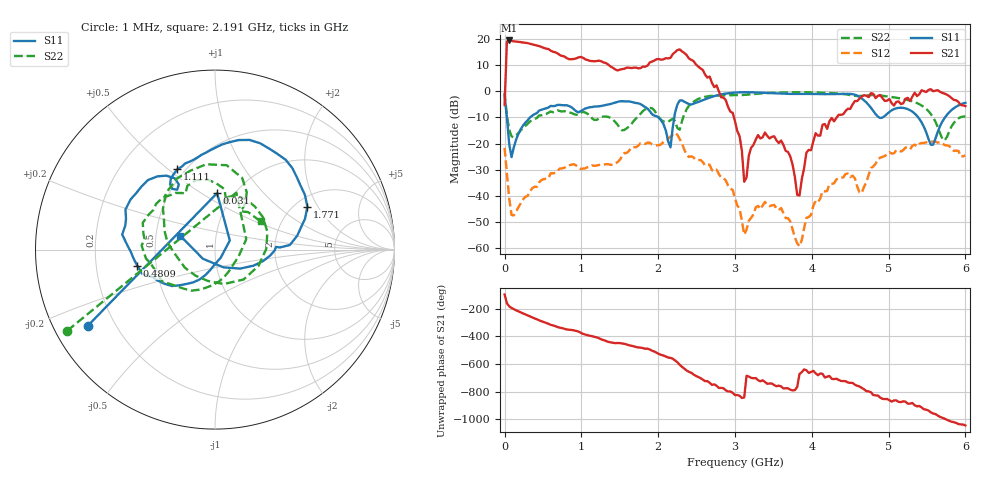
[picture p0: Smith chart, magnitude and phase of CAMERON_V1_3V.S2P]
!Agilent Technologies,E5071C,MY46107443,A.09.30
!Date: Tue Apr 26 16:01:18 2016
!Data & Calibration Information:
!Freq	S11:SOLT2(ON)	S21:SOLT2(ON)	S12:SOLT2(ON)	S22:SOLT2(ON)
# Hz S dB R 50
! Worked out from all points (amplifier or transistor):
!   201 points, 1 MHz to 6 GHz, reference 50 ohm
!   highest |S21| = 19.4 dB at 60.99 MHz (marker M1)
!   |S21| within 3 dB of that: 27.83 MHz to 526.8 MHz (499 MHz wide, 180 % of centre)
!   unconditionally stable (mu >= 1): 1.403 MHz to 2.17 GHz; 2.365 GHz to end of sweep
!   at 990.8 MHz: K = 2.32, MAG = 15.0 dB, |S12| = -29.7 dB
!   at 3.001 GHz: K = 8.04, MAG = 2.7 dB, |S12| = -40.9 dB
!   at 6 GHz: K = 9.21, MAG = -3.2 dB, |S12| = -24.6 dB
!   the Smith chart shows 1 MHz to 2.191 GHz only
!   S11 on the Smith chart (normalised r, x): 1 MHz: 0.10, -0.27; 31 MHz: 0.84, +0.58; 480.9 MHz: 0.39, -0.09; 1.111 GHz: 0.45, +0.54; 1.771 GHz: 2.32, +1.63; 2.191 GHz: 0.67, +0.11
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1000000  -1.65 -149.1  -5.28 -97.5  -21.66 26.3  -0.55 -151.2
3.0995e7  -10.04 87.9  18.94 -160.3  -31.68 -107.5  -9.40 69.5
6.099e7  -20.27 31.6  19.39 177.4  -40.98 -166.2  -14.72 18.4
1.50975e8  -18.51 -103.6  18.97 148.6  -45.88 66.8  -16.91 -56.5
2.70955e8  -12.02 -130.1  18.50 118.5  -40.36 49.0  -13.27 -103.0
4.8092e8  -7.09 -168.2  16.92 69.6  -33.95 22.1  -9.21 -156.6
6.90885e8  -5.25 155.9  14.43 26.8  -30.31 -8.4  -7.34 159.7
1.02083e9  -7.11 124.5  12.78 -21.8  -29.62 -73.2  -7.93 105.3
1.110815e9  -6.13 115.2  11.57 -35.4  -28.85 -80.4  -9.35 81.1
1.32078e9  -5.31 95.3  10.76 -73.4  -27.87 -107.1  -9.71 47.3
1.770705e9  -4.92 24.9  8.80 -121.3  -19.91 -173.9  -8.68 142.0
2.010665e9  -10.23 -6.5  12.26 -167.9  -20.66 129.8  -10.04 57.2
2.190635e9  -13.69 158.5  14.16 158.1  -16.62 82.2  -10.50 31.9
2.28062e9  -3.57 76.1  15.97 114.3  -18.24 27.7  -14.71 -112.5
2.370605e9  -4.49 37.7  13.82 72.9  -24.24 5.9  -6.93 136.8
2.46059e9  -4.80 30.0  11.52 44.1  -25.33 -0.5  -4.08 97.3
2.70055e9  -2.15 0.6  3.20 -31.1  -30.17 -48.0  -1.76 36.3
3.0005e9  -0.53 -46.4  -11.50 -105.6  -40.91 -113.5  -1.57 -13.3
3.12048e9  -0.38 -64.9  -34.63 -121.6  -54.81 -80.7  -1.41 -29.3
4.02033e9  -1.03 177.2  -19.13 70.2  -43.75 43.5  -0.46 -153.7
5.010165e9  -7.94 80.2  -2.98 -142.2  -23.34 -94.6  -2.11 89.8
6e9  -4.44 76.0  -5.70 35.2  -24.56 44.9  -9.63 63.8
